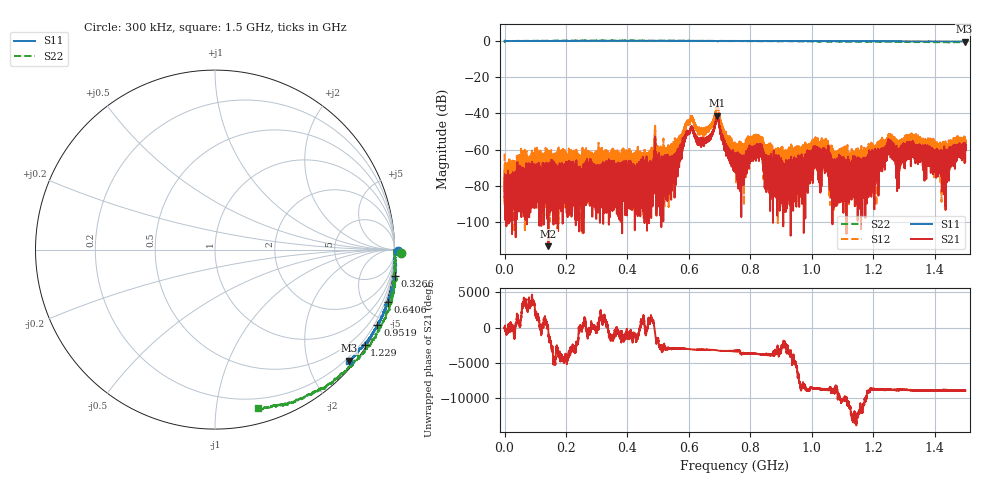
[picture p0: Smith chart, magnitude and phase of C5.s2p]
!Agilent Technologies,N5230C,SG49000117,A.08.50.07
!Agilent N5230C: A.08.50.07
!Date: Thursday, December 07, 2023 05:47:36
!Correction: S11(Full 2 Port(1,2))
!S21(Full 2 Port(1,2))
!S12(Full 2 Port(1,2))
!S22(Full 2 Port(1,2))
!S2P File: Measurements: S11, S21, S12, S22:
# Hz S  RI  R 50
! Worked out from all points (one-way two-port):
!   20001 points, 300 kHz to 1.5 GHz, reference 50 ohm
!   highest |S21| = -41.15 dB at 692.3 MHz (marker M1); lowest = -113.2 dB at 142.9 MHz (marker M2)
!   lowest |S11| = -0.3 dB at 1.497 GHz (marker M3), VSWR 61.21, Z = 7.08 - j138 ohm
!   |S11| at or under -10 dB: nowhere
!   |S22| runs from -0.8 to 0.3 dB; largest |S21 - S12| = 0.0087
!   S11 on the Smith chart (normalised r, x): 300 kHz: open; 326.6 MHz: -1, -14; 640.6 MHz: -0.15, -6.77; 951.9 MHz: 0.02, -4.53; 1.229 GHz: 0.08, -3.43; 1.5 GHz: 0.12, -2.77
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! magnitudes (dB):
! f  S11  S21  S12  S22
! 300 kHz  0.2  -73.6  -62.2  0.3
! 32.47 MHz  0.0  -80.0  -96.5  0.0
! 142.9 MHz  0.0  -113.2  -64.1  0.1
! 250.3 MHz  0.1  -71.8  -75.5  0.2
! 326.6 MHz  0.1  -81.3  -74.0  0.2
! 485.7 MHz  0.1  -65.9  -60.7  0.1
! 500.2 MHz  0.1  -67.5  -63.3  0.2
! 553.8 MHz  0.1  -68.6  -57.6  0.1
! 605.4 MHz  0.0  -48.8  -42.6  0.0
! 640.6 MHz  0.1  -55.9  -49.2  0.1
! 692.3 MHz  0.0  -41.2  -36.0  -0.1
! 750.1 MHz  0.0  -62.4  -58.4  0.0
! 830.4 MHz  0.0  -60.4  -54.4  -0.1
! 856.3 MHz  0.0  -75.9  -62.6  -0.1
! 951.9 MHz  0.0  -72.4  -68.9  -0.1
! 1 GHz  0.0  -63.3  -67.8  -0.2
! 1.158 GHz  -0.1  -71.7  -77.5  -0.4
! 1.229 GHz  -0.1  -72.0  -56.6  -0.5
! 1.25 GHz  -0.2  -55.5  -54.6  -0.4
! 1.43 GHz  -0.2  -67.5  -59.1  -0.7
! 1.497 GHz  -0.3  -59.4  -54.4  -0.7
! 1.5 GHz  -0.2  -57.7  -58.3  -0.8
